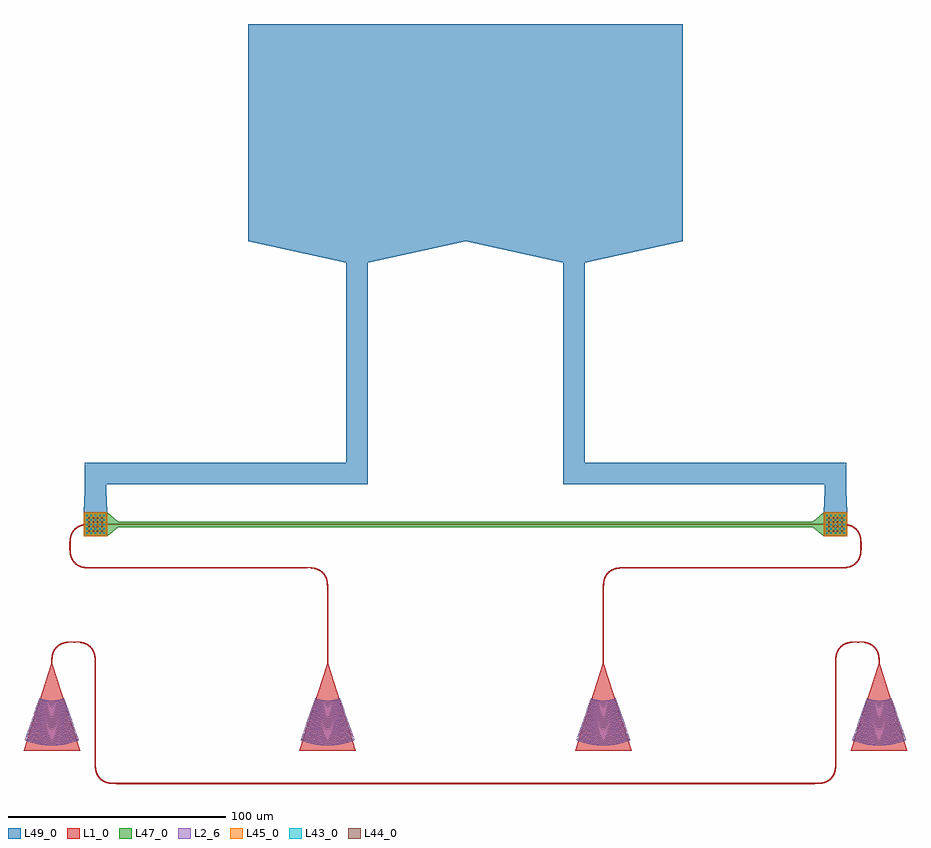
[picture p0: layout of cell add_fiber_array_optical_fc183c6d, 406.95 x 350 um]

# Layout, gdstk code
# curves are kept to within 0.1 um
from math import pi, radians
import gdstk
lib = gdstk.Library(unit=1e-6, precision=1e-09)
def R(c, l, rs):  # rectangles x0, y0, x1, y1
    for r in rs: c.add(gdstk.rectangle(r[:2], r[2:], *l))
def A(c, l, x, y, w, h, nx, ny, dx, dy):  # array of equal rectangles
    R(c, l, [(x+i*dx, y+j*dy, x+i*dx+w, y+j*dy+h) for i in range(nx) for j in range(ny)])
def P(c, l, *ps):  # polygons
    for p in ps: c.add(gdstk.Polygon(p, *l))
L1_0 = (1, 0)
L2_6 = (2, 6)
L43_0 = (43, 0)
L44_0 = (44, 0)
L45_0 = (45, 0)
L47_0 = (47, 0)
L49_0 = (49, 0)

straight_heater_metal_u_ = lib.new_cell('straight_heater_metal_u_1bc8609e')
R(straight_heater_metal_u_, L1_0, [(0,-0.25,320,0.25)])
A(straight_heater_metal_u_, L43_0, -14.75, -4.35, 0.7, 0.7, 5, 5, 2, 2)
A(straight_heater_metal_u_, L43_0, 326.05, -4.35, 0.7, 0.7, 5, 5, 2, 2)
A(straight_heater_metal_u_, L44_0, -13.75, -3.35, 0.7, 0.7, 4, 4, 2, 2)
A(straight_heater_metal_u_, L44_0, 327.05, -3.35, 0.7, 0.7, 4, 4, 2, 2)
R(straight_heater_metal_u_, L45_0, [(-15.9,-5.5,-4.9,5.5), (324.9,-5.5,335.9,5.5)])
P(straight_heater_metal_u_, L47_0, [(-15.9,-5.5),(-15.9,5.5),(-4.9,5.5),(0.1,1.25),(319.9,1.25),(324.9,5.5),(335.9,5.5),(335.9,-5.5),(324.9,-5.5),(319.9,-1.25),(0.1,-1.25),(-4.9,-5.5)])
R(straight_heater_metal_u_, L49_0, [(-15.9,-5.5,-4.9,5.5), (324.9,-5.5,335.9,5.5)])

grating_coupler_ellipti_ = lib.new_cell('grating_coupler_ellipti_c91c3207')
P(grating_coupler_ellipti_, L1_0, [(40.551,-12.973),(0.471,-0.25),(0.471,0.25),(40.551,12.973)])
P(grating_coupler_ellipti_, L2_6, [(16.414,-5.811),(16.3,-5.646),(16.82,-4.153),(17.178,-2.617),(17.351,-1.313),(17.409,0),(17.351,1.313),(17.178,2.617),(16.82,4.153),(16.3,5.646),(16.414,5.811),(16.61,5.77),(16.981,4.76),(17.344,3.465),(17.658,1.611),(17.743,0),(17.658,-1.611),(17.344,-3.465),(16.981,-4.76),(16.61,-5.77)],
  [(17.047,-6.03),(16.933,-5.866),(17.473,-4.315),(17.845,-2.718),(18.025,-1.364),(18.085,0),(18.025,1.364),(17.845,2.718),(17.473,4.315),(16.933,5.866),(17.047,6.03),(17.243,5.988),(17.444,5.469),(17.793,4.407),(18.066,3.325),(18.33,1.671),(18.419,0),(18.33,-1.671),(18.066,-3.325),(17.793,-4.407),(17.444,-5.469),(17.243,-5.988)],
  [(17.68,-6.25),(17.566,-6.086),(18.126,-4.477),(18.512,-2.82),(18.699,-1.415),(18.761,0),(18.699,1.415),(18.512,2.82),(18.126,4.477),(17.566,6.086),(17.68,6.25),(17.876,6.208),(17.982,5.94),(18.363,4.846),(18.665,3.729),(19.003,1.733),(19.095,0),(19.003,-1.733),(18.665,-3.729),(18.363,-4.846),(17.982,-5.94),(17.876,-6.208)],
  [(18.313,-6.469),(18.199,-6.304),(18.779,-4.638),(19.179,-2.922),(19.373,-1.466),(19.437,0),(19.373,1.466),(19.179,2.922),(18.779,4.638),(18.199,6.304),(18.313,6.469),(18.509,6.428),(18.619,6.15),(19.013,5.018),(19.326,3.861),(19.676,1.794),(19.771,0),(19.676,-1.794),(19.326,-3.861),(19.013,-5.018),(18.619,-6.15),(18.509,-6.428)],
  [(18.946,-6.689),(18.832,-6.525),(19.432,-4.8),(19.846,-3.024),(20.046,-1.517),(20.113,0),(20.046,1.517),(19.846,3.024),(19.432,4.8),(18.832,6.525),(18.946,6.689),(19.142,6.647),(19.365,6.07),(19.752,4.892),(20.055,3.69),(20.349,1.855),(20.447,0),(20.349,-1.855),(20.055,-3.69),(19.752,-4.892),(19.365,-6.07),(19.142,-6.647)],
  [(19.579,-6.908),(19.465,-6.744),(20.085,-4.961),(20.513,-3.125),(20.72,-1.568),(20.789,0),(20.72,1.568),(20.513,3.125),(20.085,4.961),(19.465,6.744),(19.579,6.908),(19.775,6.866),(20.005,6.27),(20.405,5.053),(20.718,3.812),(21.021,1.917),(21.123,0),(21.021,-1.917),(20.718,-3.812),(20.405,-5.053),(20.005,-6.27),(19.775,-6.866)],
  [(20.212,-7.128),(20.098,-6.964),(20.738,-5.123),(21.18,-3.227),(21.394,-1.619),(21.465,0),(21.394,1.619),(21.18,3.227),(20.738,5.123),(20.098,6.964),(20.212,7.128),(20.408,7.086),(20.646,6.471),(21.058,5.215),(21.381,3.934),(21.694,1.978),(21.799,0),(21.694,-1.978),(21.381,-3.934),(21.058,-5.215),(20.646,-6.471),(20.408,-7.086)],
  [(20.844,-7.347),(20.73,-7.182),(21.391,-5.284),(21.847,-3.329),(22.068,-1.67),(22.141,0),(22.068,1.67),(21.847,3.329),(21.391,5.284),(20.73,7.182),(20.844,7.347),(21.04,7.306),(21.286,6.672),(21.711,5.376),(22.044,4.056),(22.367,2.039),(22.475,0),(22.367,-2.039),(22.044,-4.056),(21.711,-5.376),(21.286,-6.672),(21.04,-7.306)],
  [(21.477,-7.567),(21.363,-7.402),(22.044,-5.446),(22.514,-3.431),(22.741,-1.721),(22.817,0),(22.741,1.721),(22.514,3.431),(22.044,5.446),(21.363,7.402),(21.477,7.567),(21.673,7.526),(21.926,6.871),(22.364,5.538),(22.707,4.177),(23.04,2.1),(23.151,0),(23.04,-2.1),(22.707,-4.177),(22.364,-5.538),(21.926,-6.871),(21.673,-7.526)],
  [(22.11,-7.786),(21.996,-7.621),(22.697,-5.607),(23.181,-3.533),(23.415,-1.773),(23.493,0),(23.415,1.773),(23.181,3.533),(22.697,5.607),(21.996,7.621),(22.11,7.786),(22.306,7.745),(22.566,7.072),(23.017,5.699),(23.37,4.299),(23.712,2.161),(23.827,0),(23.712,-2.161),(23.37,-4.299),(23.017,-5.699),(22.566,-7.072),(22.306,-7.745)],
  [(22.743,-8.006),(22.629,-7.842),(23.35,-5.769),(23.848,-3.634),(24.089,-1.824),(24.169,0),(24.089,1.824),(23.848,3.634),(23.35,5.769),(22.629,7.842),(22.743,8.006),(22.939,7.964),(23.207,7.273),(23.67,5.861),(24.033,4.421),(24.385,2.223),(24.503,0),(24.385,-2.223),(24.033,-4.421),(23.67,-5.861),(23.207,-7.273),(22.939,-7.964)],
  [(23.376,-8.225),(23.262,-8.06),(24.003,-5.93),(24.515,-3.736),(24.763,-1.875),(24.845,0),(24.763,1.875),(24.515,3.736),(24.003,5.93),(23.262,8.06),(23.376,8.225),(23.572,8.184),(23.847,7.474),(24.323,6.022),(24.696,4.543),(25.058,2.284),(25.179,0),(25.058,-2.284),(24.696,-4.543),(24.323,-6.022),(23.847,-7.474),(23.572,-8.184)],
  [(24.009,-8.445),(23.895,-8.28),(24.657,-6.092),(25.182,-3.838),(25.436,-1.926),(25.521,0),(25.436,1.926),(25.182,3.838),(24.657,6.092),(23.895,8.28),(24.009,8.445),(24.205,8.404),(24.619,7.305),(24.977,6.184),(25.359,4.665),(25.731,2.346),(25.855,0),(25.731,-2.346),(25.359,-4.665),(24.977,-6.184),(24.619,-7.305),(24.205,-8.404)],
  [(24.642,-8.664),(24.528,-8.499),(25.31,-6.253),(25.849,-3.94),(26.11,-1.977),(26.197,0),(26.11,1.977),(25.849,3.94),(25.31,6.253),(24.528,8.499),(24.642,8.664),(24.838,8.623),(25.263,7.496),(25.63,6.345),(26.022,4.787),(26.404,2.407),(26.531,0),(26.404,-2.407),(26.022,-4.787),(25.63,-6.345),(25.263,-7.496),(24.838,-8.623)],
  [(25.275,-8.884),(25.161,-8.72),(25.963,-6.415),(26.516,-4.041),(26.784,-2.028),(26.873,0),(26.784,2.028),(26.516,4.041),(25.963,6.415),(25.161,8.72),(25.275,8.884),(25.471,8.842),(25.907,7.686),(26.283,6.507),(26.686,4.908),(27.076,2.468),(27.207,0),(27.076,-2.468),(26.686,-4.908),(26.283,-6.507),(25.907,-7.686),(25.471,-8.842)],
  [(25.908,-9.103),(25.794,-8.939),(26.237,-7.767),(26.616,-6.576),(26.932,-5.367),(27.183,-4.143),(27.458,-2.079),(27.549,0),(27.458,2.079),(27.183,4.143),(26.932,5.367),(26.616,6.576),(26.237,7.767),(25.794,8.939),(25.908,9.103),(26.104,9.061),(26.551,7.877),(26.936,6.668),(27.349,5.03),(27.749,2.529),(27.849,1.266),(27.883,0),(27.849,-1.266),(27.749,-2.529),(27.349,-5.03),(26.936,-6.668),(26.551,-7.877),(26.104,-9.061)],
  [(26.54,-9.323),(26.426,-9.158),(26.88,-7.958),(27.269,-6.738),(27.593,-5.498),(27.85,-4.245),(28.131,-2.13),(28.225,0),(28.131,2.13),(27.85,4.245),(27.593,5.498),(27.269,6.738),(26.88,7.958),(26.426,9.158),(26.54,9.323),(26.736,9.282),(27.194,8.068),(27.706,6.413),(28.012,5.152),(28.25,3.876),(28.422,2.59),(28.524,1.297),(28.559,0),(28.524,-1.297),(28.422,-2.59),(28.25,-3.876),(28.012,-5.152),(27.706,-6.413),(27.194,-8.068),(26.736,-9.282)],
  [(27.173,-9.542),(27.059,-9.377),(27.524,-8.149),(27.922,-6.9),(28.254,-5.63),(28.517,-4.347),(28.805,-2.181),(28.901,0),(28.805,2.181),(28.517,4.347),(28.254,5.63),(27.922,6.9),(27.524,8.149),(27.059,9.377),(27.173,9.542),(27.369,9.501),(27.838,8.259),(28.362,6.565),(28.675,5.274),(28.919,3.968),(29.095,2.652),(29.199,1.328),(29.235,0),(29.199,-1.328),(29.095,-2.652),(28.919,-3.968),(28.675,-5.274),(28.362,-6.565),(27.838,-8.259),(27.369,-9.501)],
  [(27.806,-9.762),(27.692,-9.597),(28.168,-8.339),(28.575,-7.061),(28.914,-5.762),(29.184,-4.448),(29.479,-2.232),(29.577,0),(29.479,2.232),(29.184,4.448),(28.914,5.762),(28.575,7.061),(28.168,8.339),(27.692,9.597),(27.806,9.762),(28.002,9.721),(28.482,8.449),(28.895,7.153),(29.338,5.396),(29.587,4.06),(29.767,2.713),(29.874,1.358),(29.911,0),(29.874,-1.358),(29.767,-2.713),(29.587,-4.06),(29.338,-5.396),(28.895,-7.153),(28.482,-8.449),(28.002,-9.721)],
  [(28.439,-9.981),(28.325,-9.816),(28.812,-8.53),(29.228,-7.223),(29.575,-5.894),(29.851,-4.55),(30.153,-2.283),(30.253,0),(30.153,2.283),(29.851,4.55),(29.575,5.894),(29.228,7.223),(28.812,8.53),(28.325,9.816),(28.439,9.981),(28.635,9.94),(29.126,8.64),(29.548,7.315),(30.001,5.518),(30.256,4.151),(30.44,2.774),(30.549,1.389),(30.587,0),(30.549,-1.389),(30.44,-2.774),(30.256,-4.151),(30.001,-5.518),(29.673,-6.869),(29.126,-8.64),(28.635,-9.94)],
  [(29.072,-10.201),(28.958,-10.037),(29.455,-8.721),(29.881,-7.384),(30.236,-6.026),(30.518,-4.652),(30.826,-2.334),(30.929,0),(30.826,2.334),(30.518,4.652),(30.236,6.026),(29.881,7.384),(29.455,8.721),(28.958,10.037),(29.072,10.201),(29.268,10.159),(29.769,8.831),(30.329,7.02),(30.664,5.639),(30.925,4.243),(31.113,2.836),(31.225,1.42),(31.263,0),(31.225,-1.42),(31.113,-2.836),(30.925,-4.243),(30.664,-5.639),(30.329,-7.02),(29.769,-8.831),(29.268,-10.159)],
  [(29.705,-10.42),(29.591,-10.255),(30.099,-8.912),(30.534,-7.546),(30.897,-6.158),(31.185,-4.754),(31.5,-2.385),(31.605,0),(31.5,2.385),(31.185,4.754),(30.897,6.158),(30.534,7.546),(30.099,8.912),(29.591,10.255),(29.705,10.42),(29.901,10.379),(30.413,9.022),(30.985,7.172),(31.327,5.761),(31.593,4.335),(31.786,2.896),(31.9,1.45),(31.939,0),(31.9,-1.45),(31.786,-2.896),(31.593,-4.335),(31.327,-5.761),(30.985,-7.172),(30.413,-9.022),(29.901,-10.379)],
  [(30.338,-10.64),(30.224,-10.475),(30.743,-9.103),(31.187,-7.707),(31.558,-6.289),(31.852,-4.855),(32.174,-2.437),(32.281,0),(32.174,2.437),(31.852,4.855),(31.558,6.289),(31.187,7.707),(30.743,9.103),(30.224,10.475),(30.338,10.64),(30.534,10.599),(31.057,9.213),(31.641,7.324),(31.99,5.883),(32.262,4.426),(32.458,2.958),(32.575,1.481),(32.615,0),(32.575,-1.481),(32.458,-2.958),(32.262,-4.426),(31.99,-5.883),(31.641,-7.324),(31.057,-9.213),(30.534,-10.599)],
  [(30.971,-10.859),(30.857,-10.695),(31.387,-9.293),(31.84,-7.869),(32.219,-6.421),(32.519,-4.957),(32.848,-2.488),(32.957,0),(32.848,2.488),(32.519,4.957),(32.219,6.421),(31.84,7.869),(31.387,9.293),(30.857,10.695),(30.971,10.859),(31.167,10.817),(31.701,9.403),(32.297,7.476),(32.653,6.005),(32.931,4.518),(33.131,3.019),(33.25,1.512),(33.291,0),(33.25,-1.512),(33.131,-3.019),(32.931,-4.518),(32.653,-6.005),(32.297,-7.476),(31.701,-9.403),(31.167,-10.817)],
  [(31.604,-11.079),(31.49,-10.915),(32.03,-9.484),(32.493,-8.03),(32.879,-6.553),(33.186,-5.059),(33.521,-2.539),(33.633,0),(33.521,2.539),(33.186,5.059),(32.879,6.553),(32.493,8.03),(32.03,9.484),(31.49,10.915),(31.604,11.079),(31.8,11.037),(32.344,9.594),(32.952,7.627),(33.316,6.127),(33.6,4.61),(33.804,3.081),(33.925,1.542),(33.967,0),(33.925,-1.542),(33.804,-3.081),(33.6,-4.61),(33.316,-6.127),(32.952,-7.627),(32.344,-9.594),(31.8,-11.037)],
  [(32.237,-11.298),(32.123,-11.133),(32.674,-9.675),(33.146,-8.192),(33.54,-6.685),(33.853,-5.161),(34.195,-2.59),(34.309,0),(34.195,2.59),(33.853,5.161),(33.54,6.685),(33.146,8.192),(32.674,9.675),(32.123,11.133),(32.237,11.298),(32.433,11.257),(32.988,9.785),(33.608,7.779),(33.979,6.249),(34.268,4.701),(34.477,3.142),(34.601,1.573),(34.643,0),(34.601,-1.573),(34.477,-3.142),(34.268,-4.701),(33.979,-6.249),(33.608,-7.779),(32.988,-9.785),(32.433,-11.257)],
  [(32.869,-11.518),(32.755,-11.353),(33.318,-9.866),(33.799,-8.353),(34.201,-6.817),(34.52,-5.262),(34.869,-2.641),(34.985,0),(34.869,2.641),(34.52,5.262),(34.201,6.817),(33.799,8.353),(33.318,9.866),(32.755,11.353),(32.869,11.518),(33.065,11.477),(33.632,9.976),(34.264,7.931),(34.642,6.37),(34.937,4.793),(35.149,3.203),(35.276,1.604),(35.319,0),(35.276,-1.604),(35.149,-3.203),(34.937,-4.793),(34.642,-6.37),(34.264,-7.931),(33.632,-9.976),(33.065,-11.477)],
  [(33.502,-11.738),(33.388,-11.573),(33.962,-10.056),(34.453,-8.515),(34.862,-6.949),(35.187,-5.364),(35.543,-2.692),(35.661,0),(35.543,2.692),(35.187,5.364),(34.862,6.949),(34.453,8.515),(33.962,10.056),(33.388,11.573),(33.502,11.738),(33.698,11.697),(34.276,10.166),(34.773,8.607),(35.305,6.492),(35.606,4.885),(35.822,3.264),(35.951,1.634),(35.995,0),(35.951,-1.634),(35.822,-3.264),(35.606,-4.885),(35.305,-6.492),(34.773,-8.607),(34.276,-10.166),(33.698,-11.697)],
  [(34.135,-11.957),(34.021,-11.792),(34.605,-10.247),(35.106,-8.676),(35.523,-7.08),(35.854,-5.466),(36.216,-2.743),(36.337,0),(36.216,2.743),(35.854,5.466),(35.523,7.08),(35.106,8.676),(34.605,10.247),(34.021,11.792),(34.135,11.957),(34.331,11.916),(34.919,10.357),(35.576,8.233),(35.968,6.614),(36.274,4.976),(36.495,3.325),(36.626,1.665),(36.671,0),(36.626,-1.665),(36.495,-3.325),(36.274,-4.976),(35.968,-6.614),(35.576,-8.233),(34.919,-10.357),(34.331,-11.916)],
  [(34.768,-12.177),(34.654,-12.013),(35.249,-10.438),(35.759,-8.838),(36.183,-7.212),(36.521,-5.568),(36.89,-2.794),(37.013,0),(36.89,2.794),(36.521,5.568),(36.183,7.212),(35.759,8.838),(35.249,10.438),(34.654,12.013),(34.768,12.177),(34.964,12.135),(35.563,10.548),(36.232,8.385),(36.631,6.736),(36.943,5.068),(37.168,3.387),(37.301,1.696),(37.347,0),(37.301,-1.696),(37.168,-3.387),(36.943,-5.068),(36.631,-6.736),(36.232,-8.385),(35.563,-10.548),(34.964,-12.135)],
  [(35.401,-12.396),(35.287,-12.231),(35.893,-10.629),(36.412,-8.999),(36.844,-7.344),(37.188,-5.669),(37.564,-2.845),(37.689,0),(37.564,2.845),(37.188,5.669),(36.844,7.344),(36.412,8.999),(35.893,10.629),(35.287,12.231),(35.401,12.396),(35.597,12.355),(36.207,10.739),(36.732,9.091),(37.295,6.858),(37.612,5.16),(37.84,3.448),(37.977,1.726),(38.023,0),(37.977,-1.726),(37.84,-3.448),(37.612,-5.16),(37.295,-6.858),(36.732,-9.091),(36.207,-10.739),(35.597,-12.355)])

bend_euler_gdsfactorypc_ = lib.new_cell('bend_euler_gdsfactorypc_387600b2')
P(bend_euler_gdsfactorypc_, L1_0, [(0,-0.25),(0,0.25),(2.881,0.353),(3.952,0.52),(4.99,0.806),(6.431,1.505),(7.575,2.425),(8.495,3.569),(9.194,5.01),(9.48,6.048),(9.647,7.119),(9.75,10),(10.25,10),(10.158,7.205),(9.797,5.254),(9.457,4.312),(9.066,3.545),(8.5,2.715),(7.928,2.072),(7.285,1.5),(6.455,0.934),(5.688,0.543),(4.746,0.203),(2.795,-0.158)])

straight_gdsfactorypcom_ = lib.new_cell('straight_gdsfactorypcom_78373eae')
R(straight_gdsfactorypcom_, L1_0, [(0,-0.25,12.15,0.25)])

c_straight_gdsfactorypcom_ = lib.new_cell('straight_gdsfactorypcom_0fd4726e')
R(c_straight_gdsfactorypcom_, L1_0, [(0,-0.25,98.65,0.25)])

c_straight_gdsfactorypcom__ = lib.new_cell('straight_gdsfactorypcom_ddbab9a4')
R(c_straight_gdsfactorypcom__, L1_0, [(0,-0.25,34.221,0.25)])

c_straight_gdsfactorypcom___ = lib.new_cell('straight_gdsfactorypcom_f72e6f6a')
R(c_straight_gdsfactorypcom___, L1_0, [(0,-0.25,45.08,0.25)])

c_straight_gdsfactorypcom____ = lib.new_cell('straight_gdsfactorypcom_5398430b')
R(c_straight_gdsfactorypcom____, L1_0, [(0,-0.25,321,0.25)])

unnamed_189 = lib.new_cell('Unnamed_189')
unnamed_189.add(gdstk.Reference(straight_heater_metal_u_, (0,0)))
unnamed_189.add(gdstk.Reference(grating_coupler_ellipti_, (96.5,-63.75), rotation=3*pi/2))
unnamed_189.add(gdstk.Reference(grating_coupler_ellipti_, (223.5,-63.75), rotation=3*pi/2))
unnamed_189.add(gdstk.Reference(grating_coupler_ellipti_, (-30.5,-63.75), rotation=3*pi/2))
unnamed_189.add(gdstk.Reference(grating_coupler_ellipti_, (350.5,-63.75), rotation=3*pi/2))
unnamed_189.add(gdstk.Reference(bend_euler_gdsfactorypc_, (-22.15,-10), rotation=pi/2, x_reflection=True))
unnamed_189.add(gdstk.Reference(straight_gdsfactorypcom_, (0,0), rotation=pi))
unnamed_189.add(gdstk.Reference(bend_euler_gdsfactorypc_, (-12.15,-20), rotation=pi, x_reflection=True))
unnamed_189.add(gdstk.Reference(bend_euler_gdsfactorypc_, (96.5,-30), rotation=pi/2))
unnamed_189.add(gdstk.Reference(c_straight_gdsfactorypcom_, (-12.15,-20)))
unnamed_189.add(gdstk.Reference(c_straight_gdsfactorypcom__, (96.5,-30), rotation=3*pi/2))
unnamed_189.add(gdstk.Reference(bend_euler_gdsfactorypc_, (342.15,-10), rotation=pi/2))
unnamed_189.add(gdstk.Reference(straight_gdsfactorypcom_, (320,0)))
unnamed_189.add(gdstk.Reference(bend_euler_gdsfactorypc_, (332.15,-20)))
unnamed_189.add(gdstk.Reference(bend_euler_gdsfactorypc_, (223.5,-30), rotation=pi/2, x_reflection=True))
unnamed_189.add(gdstk.Reference(c_straight_gdsfactorypcom_, (332.15,-20), rotation=pi))
unnamed_189.add(gdstk.Reference(c_straight_gdsfactorypcom__, (223.5,-30), rotation=3*pi/2))
unnamed_189.add(gdstk.Reference(bend_euler_gdsfactorypc_, (-20.5,-54.221), rotation=pi))
unnamed_189.add(gdstk.Reference(bend_euler_gdsfactorypc_, (-10.5,-64.221), rotation=pi/2))
unnamed_189.add(gdstk.Reference(bend_euler_gdsfactorypc_, (-0.5,-119.301), rotation=pi, x_reflection=True))
unnamed_189.add(gdstk.Reference(c_straight_gdsfactorypcom___, (-10.5,-64.221), rotation=3*pi/2))
unnamed_189.add(gdstk.Reference(bend_euler_gdsfactorypc_, (330.5,-109.301), rotation=3*pi/2, x_reflection=True))
unnamed_189.add(gdstk.Reference(c_straight_gdsfactorypcom____, (-0.5,-119.301)))
unnamed_189.add(gdstk.Reference(bend_euler_gdsfactorypc_, (340.5,-54.221), rotation=pi))
unnamed_189.add(gdstk.Reference(c_straight_gdsfactorypcom___, (330.5,-109.301), rotation=pi/2))
unnamed_189.add(gdstk.Reference(bend_euler_gdsfactorypc_, (350.5,-64.221), rotation=pi/2))

pad_gdsfactorypcomponen_ = lib.new_cell('pad_gdsfactorypcomponen_457de54c')
R(pad_gdsfactorypcomponen_, L49_0, [(-50,-50,50,50)])

array_gdsfactorypcompon_ = lib.new_cell('array_gdsfactorypcompon_5a3bc366')
r = gdstk.Reference(pad_gdsfactorypcomponen_, (0,0)); r.repetition = gdstk.Repetition(2, 1, v1=(100,0), v2=(0,0)); array_gdsfactorypcompon_.add(r)

taper_gdsfactorypcompon_ = lib.new_cell('taper_gdsfactorypcompon_30da7aae')
P(taper_gdsfactorypcompon_, L49_0, [(0,-5.5),(0,5.5),(10,5),(10,-5)])

c_taper_gdsfactorypcompon_ = lib.new_cell('taper_gdsfactorypcompon_e6a63921')
P(c_taper_gdsfactorypcompon_, L49_0, [(0,-50),(0,50),(10,5),(10,-5)])

add_fiber_array_optical_ = lib.new_cell('add_fiber_array_optical_fc183c6d')
P(add_fiber_array_optical_, L49_0, [(325.4,15.5),(325.4,18.5),(205,18.5),(205,120.449),(215,120.449),(215,28.5),(335.4,28.5),(335.4,15.5)],
  [(-15.4,15.5),(-15.4,28.5),(105,28.5),(105,120.449),(115,120.449),(115,18.5),(-5.4,18.5),(-5.4,15.5)])
add_fiber_array_optical_.add(gdstk.Reference(unnamed_189, (0,0)))
add_fiber_array_optical_.add(gdstk.Reference(array_gdsfactorypcompon_, (110,180.449)))
add_fiber_array_optical_.add(gdstk.Reference(taper_gdsfactorypcompon_, (-10.4,5.5), rotation=pi/2))
add_fiber_array_optical_.add(gdstk.Reference(taper_gdsfactorypcompon_, (330.4,5.5), rotation=pi/2))
add_fiber_array_optical_.add(gdstk.Reference(c_taper_gdsfactorypcompon_, (110,130.449), rotation=3*pi/2))
add_fiber_array_optical_.add(gdstk.Reference(c_taper_gdsfactorypcompon_, (210,130.449), rotation=3*pi/2))

lib.write_gds('add_fiber_array_optical_fc183c6d.gds')
